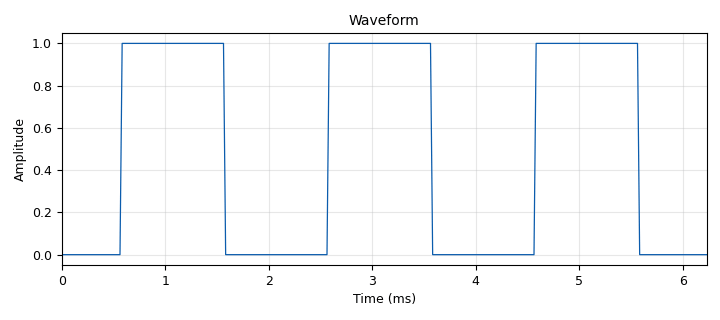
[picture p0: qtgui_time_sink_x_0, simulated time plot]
options:
  parameters:
    generate_options: qt_gui
    id: continuous_time_vs_discrete_time_signals
    output_language: python
    title: Continuous Time vs Discrete Time Signals
  states: {}

blocks:
- name: samp_rate
  id: variable
  parameters:
    value: '48000'
  states: {}
- name: signal_freq
  id: variable_qtgui_range
  parameters:
    label: Signal Frequency
    orient: Qt.Horizontal
    start: '0'
    step: '100'
    stop: '8000'
    value: '500'
  states: {}
- name: volume
  id: variable_qtgui_range
  parameters:
    label: Volume
    orient: Qt.Horizontal
    start: '0'
    step: '0.05'
    stop: '1'
    value: '0.1'
  states: {}
- name: analog_sig_source_x_0
  id: analog_sig_source_x
  parameters:
    amp: '1'
    freq: signal_freq
    offset: '0'
    phase: '0'
    samp_rate: samp_rate
    type: float
    waveform: analog.GR_SQR_WAVE
  states: {}
- name: audio_sink_0
  id: audio_sink
  parameters:
    samp_rate: samp_rate
  states: {}
- name: blocks_multiply_const_vxx_0
  id: blocks_multiply_const_vxx
  parameters:
    const: volume
    type: float
  states: {}
- name: qtgui_time_sink_x_0
  id: qtgui_time_sink_x
  parameters:
    autoscale: 'True'
    ctrlpanel: 'True'
    grid: 'True'
    legend: 'False'
    name: Waveform
    size: '300'
    srate: samp_rate
    type: float
  states: {}

connections:
- [analog_sig_source_x_0, '0', blocks_multiply_const_vxx_0, '0']
- [analog_sig_source_x_0, '0', qtgui_time_sink_x_0, '0']
- [blocks_multiply_const_vxx_0, '0', audio_sink_0, '0']

metadata:
  file_format: 1
